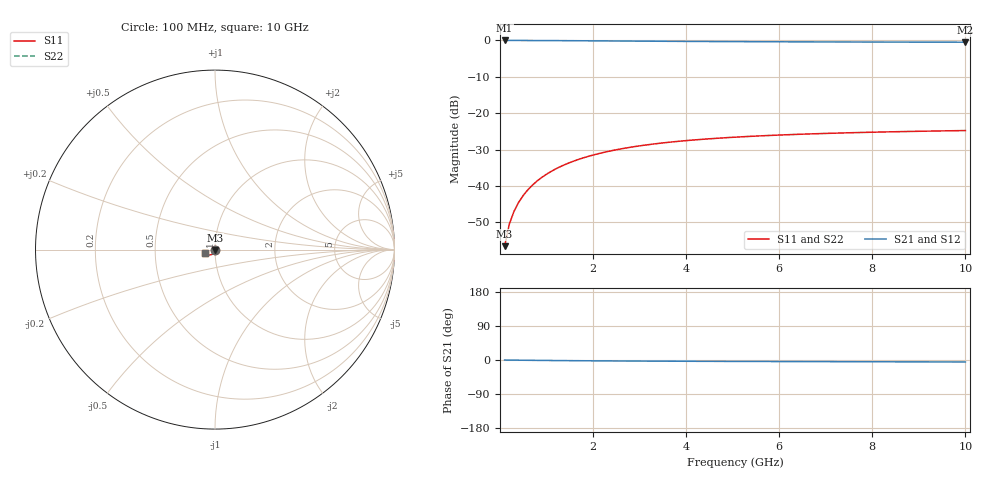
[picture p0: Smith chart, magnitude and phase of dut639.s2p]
! Touchstone file exported from HFSS 2024.1.0
!  File:  C:/UserFiles/LocalFiles/RDL_TSV_Batchsim/temp_TSV1_639_1779790993.aedt
!  Generated:  06:30:46 PM May 26, 2026
!  Design:  TSV1
!  Project:  temp_TSV1_639_1779790993
!  Setup:  Setup1
!  Solution:  Sweep
! Variables:
!  dtsv = 11.47um
!  hbump = 3um
!  htsv = 81.24um
!  lrdl = 252.1521522um
!  p = 40
!  p1 = 41.44um
!  t = 500um
!  trdl = 3um
!  wrdl = 24.89489489um
# GHz S MA R 50.000000
! Terminal data exported
! Port[1] = TSV22_T1
! Port[2] = TSV22_T2
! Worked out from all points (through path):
!   100 points, 100 MHz to 10 GHz, reference 50 ohm
!   highest |S21| = 0.00 dB at 100 MHz (marker M1); lowest = -0.5 dB at 10 GHz (marker M2)
!   lowest |S11| = -56.6 dB at 100 MHz (marker M3), VSWR 1.00, Z = 50 - j0.148 ohm
!   |S11| at or under -10 dB: start of sweep to end of sweep
!   |S22| runs from -56.6 to -24.8 dB; largest |S21 - S12| = 6.2e-15
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0.1  0.001487 -87.0  0.9998 -0.1  0.9998 -0.1  0.001487 -87.0
! Gamma 0 0 0 0
! Port Impedance 50 0 50 0
0.2  0.002969 -90.5  0.9997 -0.3  0.9997 -0.3  0.002969 -90.5
0.3  0.004452 -92.6  0.9995 -0.4  0.9995 -0.4  0.004452 -92.6
0.4  0.005931 -94.4  0.9992 -0.5  0.9992 -0.5  0.005931 -94.4
0.5  0.007402 -96.1  0.9989 -0.6  0.9989 -0.6  0.007402 -96.1
0.6  0.00886 -97.7  0.9984 -0.7  0.9984 -0.7  0.00886 -97.7
0.7  0.0103 -99.3  0.998 -0.9  0.998 -0.9  0.0103 -99.3
0.8  0.01172 -100.8  0.9974 -1.0  0.9974 -1.0  0.01172 -100.8
0.9  0.01312 -102.3  0.9968 -1.1  0.9968 -1.1  0.01312 -102.3
1.1  0.01584 -105.2  0.9955 -1.3  0.9955 -1.3  0.01584 -105.2
1.4  0.01971 -109.3  0.9932 -1.6  0.9932 -1.6  0.01971 -109.3
1.6  0.02214 -111.9  0.9915 -1.8  0.9915 -1.8  0.02214 -111.9
1.8  0.02443 -114.4  0.9897 -2.0  0.9897 -2.0  0.02443 -114.4
2.1  0.02763 -117.9  0.9869 -2.2  0.9869 -2.2  0.02763 -117.9
2.5  0.03145 -122.2  0.9831 -2.5  0.9831 -2.5  0.03145 -122.2
2.9  0.03479 -126.1  0.9795 -2.8  0.9795 -2.8  0.03479 -126.1
3.4  0.03839 -130.4  0.9752 -3.1  0.9752 -3.1  0.03839 -130.4
4.2  0.04303 -136.2  0.9691 -3.4  0.9691 -3.4  0.04303 -136.2
5.1  0.04702 -141.6  0.9633 -3.8  0.9633 -3.8  0.04702 -141.6
6.7  0.052 -148.9  0.9556 -4.3  0.9556 -4.3  0.052 -148.9
8.4  0.05547 -154.7  0.9498 -4.8  0.9498 -4.8  0.05547 -154.7
10  0.05773 -159.0  0.946 -5.2  0.946 -5.2  0.05774 -159.0
